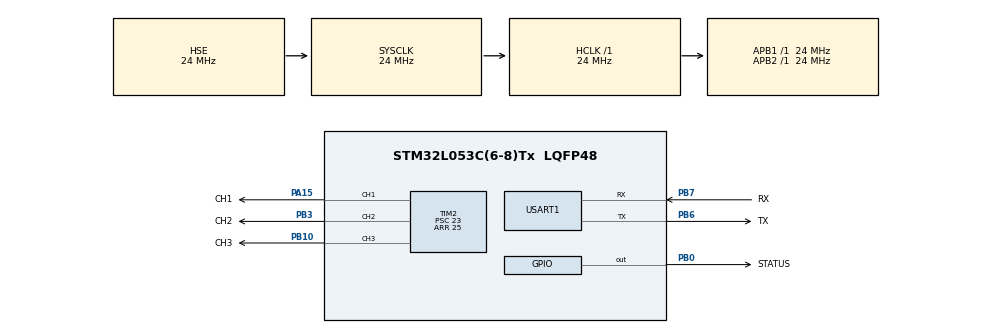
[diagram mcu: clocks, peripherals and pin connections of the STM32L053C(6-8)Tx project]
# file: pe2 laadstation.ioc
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Mcu.Family=STM32L0
Mcu.Name=STM32L053C(6-8)Tx
Mcu.Package=LQFP48
PA13.Mode=Serial_Wire
PA13.Signal=SYS_SWDIO
PA14.Mode=Serial_Wire
PA14.Signal=SYS_SWCLK
PA15.GPIO_Label=CH1
PA15.Signal=S_TIM2_CH1
PB0.GPIO_Label=STATUS
PB0.Signal=GPIO_Output
PB10.GPIO_Label=CH3
PB10.Signal=S_TIM2_CH3
PB3.GPIO_Label=CH2
PB3.Signal=S_TIM2_CH2
PB6.GPIO_Label=TX
PB6.Mode=Asynchronous
PB6.Signal=USART1_TX
PB7.GPIO_Label=RX
PB7.Mode=Asynchronous
PB7.Signal=USART1_RX
PH0-OSC_IN.GPIO_Label=OSC
PH0-OSC_IN.Mode=HSE-External-Clock-Source
PH0-OSC_IN.Signal=RCC_OSC_IN
ProjectManager.HeapSize=0x200
ProjectManager.StackSize=0x400
ProjectManager.TargetToolchain=STM32CubeIDE
RCC.AHBFreq_Value=24000000
RCC.APB1Freq_Value=24000000
RCC.APB1TimFreq_Value=24000000
RCC.APB2Freq_Value=24000000
RCC.APB2TimFreq_Value=24000000
RCC.HCLKFreq_Value=24000000
RCC.HSE_VALUE=24000000
RCC.HSI16_VALUE=16000000
RCC.HSI48_VALUE=48000000
RCC.HSI_VALUE=16000000
RCC.LSE_VALUE=32768
RCC.MSI_VALUE=2097000
RCC.SYSCLKFreq_VALUE=24000000
RCC.SYSCLKSource=RCC_SYSCLKSOURCE_HSE
RCC.VCOOutputFreq_Value=48000000
SH.S_TIM2_CH1.0=TIM2_CH1,PWM Generation1 CH1
SH.S_TIM2_CH2.0=TIM2_CH2,PWM Generation2 CH2
SH.S_TIM2_CH3.0=TIM2_CH3,PWM Generation3 CH3
TIM2.AutoReloadPreload=TIM_AUTORELOAD_PRELOAD_ENABLE
TIM2.Channel-PWM\ Generation1\ CH1=TIM_CHANNEL_1
TIM2.Channel-PWM\ Generation2\ CH2=TIM_CHANNEL_2
TIM2.Channel-PWM\ Generation3\ CH3=TIM_CHANNEL_3
TIM2.OCPolarity_1=TIM_OCPOLARITY_LOW
TIM2.OCPolarity_2=TIM_OCPOLARITY_LOW
TIM2.OCPolarity_3=TIM_OCPOLARITY_LOW
TIM2.Period=25
TIM2.Prescaler=23
USART1.VirtualMode-Asynchronous=VM_ASYNC
VP_TIM2_VS_ClockSourceINT.Mode=Internal
board=custom

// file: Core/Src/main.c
/* USER CODE BEGIN Header */
/**
  ******************************************************************************
  * @file           : main.c
  * @brief          : Main program body
  ******************************************************************************
  * @attention
  *
  * Copyright (c) 2025 STMicroelectronics.
  * All rights reserved.
  *
  * This software is licensed under terms that can be found in the LICENSE file
  * in the root directory of this software component.
  * If no LICENSE file comes with this software, it is provided AS-IS.
  *
  ******************************************************************************
  */
/* USER CODE END Header */
#include "main.h"

/* USER CODE BEGIN Includes */
#include <stdio.h>
/* USER CODE END Includes */

/* USER CODE BEGIN PM */
#define DUTY_VAL 14
/* USER CODE END PM */

TIM_HandleTypeDef htim2;

UART_HandleTypeDef huart1;

void SystemClock_Config(void);
static void MX_GPIO_Init(void);
static void MX_USART1_UART_Init(void);
static void MX_TIM2_Init(void);
/* USER CODE BEGIN PFP */
int _write(int, char *, int);
void stuurDataIrSolo (uint8_t);
void stuurDataIrDuo (uint8_t, uint8_t);
void stuurDataIrAll (uint8_t, uint8_t, uint8_t);
/* USER CODE END PFP */

/* USER CODE BEGIN 0 */
int _write(int file, char *ptr, int len) {
	for(int i = 0; i < len; i++){
		if(ptr[i]=='\n'){
			HAL_UART_Transmit(&huart1, (uint8_t*)"\r", 1, HAL_MAX_DELAY);
		}
		HAL_UART_Transmit(&huart1, (uint8_t*)&ptr[i], 1, HAL_MAX_DELAY);
	}
    return len;
}
void stuurDataIrSolo (uint8_t data) //MSB eerst
{
	uint8_t bit;
	for (uint8_t i = 0; i < 8; i++)
	{
		bit = data & 128;
		data = data <<  1;
		if (bit == 128)
		{
			htim2.Instance->CCR2 = DUTY_VAL; //Duty Cycle op 50% => led 38kHz
			HAL_Delay(2); //3ms wachten
			htim2.Instance->CCR2 = 0; //Duty Cycle op 0% => led uit
			HAL_Delay(0); //1ms wachten
		}
		else
		{
			htim2.Instance->CCR2 = DUTY_VAL; //Duty Cycle op 50% => led 38kHz
			HAL_Delay(0); //3ms wachten
			htim2.Instance->CCR2 = 0; //Duty Cycle op 0% => led uit
			HAL_Delay(2); //1ms wachten
		}
	}
}
void stuurDataIrDuo (uint8_t data_ch1, uint8_t data_ch2) //MSB eerst
{
	uint8_t bit_ch1, bit_ch2;
	for (uint8_t i = 0; i < 8; i++)
	{
		bit_ch1 = data_ch1 & 128;
		bit_ch2 = data_ch2 & 128;
		data_ch1 = data_ch1 <<  1;
		data_ch2 = data_ch2 <<  1;
		if (bit_ch1 == 128 && bit_ch2 == 128)
		{
			htim2.Instance->CCR1 = DUTY_VAL; //Duty Cycle op 50% => led 38kHz
			htim2.Instance->CCR3 = DUTY_VAL; //Duty Cycle op 50% => led 38kHz
			HAL_Delay(2); //3ms wachten
			htim2.Instance->CCR1 = 0; //Duty Cycle op 50% => led 38kHz
			htim2.Instance->CCR3 = 0; //Duty Cycle op 50% => led 38kHz
			HAL_Delay(0); //1ms wachten
		}
		else if (bit_ch1 == 128 && bit_ch2 == 0)
		{
			htim2.Instance->CCR1 = DUTY_VAL; //Duty Cycle op 50% => led 38kHz
			htim2.Instance->CCR3 = DUTY_VAL; //Duty Cycle op 50% => led 38kHz
			HAL_Delay(0); //1ms wachten
			htim2.Instance->CCR3 = 0; //Duty Cycle op 50% => led 38kHz
			HAL_Delay(1); //2ms wachten
			htim2.Instance->CCR1 = 0; //Duty Cycle op 50% => led 38kHz
			HAL_Delay(0); //1ms wachten
		}
		else if (bit_ch1 == 0 && bit_ch2 == 128)
		{
			htim2.Instance->CCR1 = DUTY_VAL; //Duty Cycle op 50% => led 38kHz
			htim2.Instance->CCR3 = DUTY_VAL; //Duty Cycle op 50% => led 38kHz
			HAL_Delay(0); //1ms wachten
			htim2.Instance->CCR1 = 0; //Duty Cycle op 50% => led 38kHz
			HAL_Delay(1); //2ms wachten
			htim2.Instance->CCR3 = 0; //Duty Cycle op 50% => led 38kHz
			HAL_Delay(0); //1ms wachten
		}
		else
		{
			htim2.Instance->CCR1 = DUTY_VAL; //Duty Cycle op 50% => led 38kHz
			htim2.Instance->CCR3 = DUTY_VAL; //Duty Cycle op 50% => led 38kHz
			HAL_Delay(0); //3ms wachten
			htim2.Instance->CCR1 = 0; //Duty Cycle op 50% => led 38kHz
			htim2.Instance->CCR3 = 0; //Duty Cycle op 50% => led 38kHz
			HAL_Delay(2); //1ms wachten
		}
	}
}
void stuurDataIrAll (uint8_t data_ch1, uint8_t data_ch2, uint8_t data_ch3)
{
	uint8_t bit_ch1, bit_ch2, bit_ch3;
	for (uint8_t i = 0; i < 8; i++)
	{
		bit_ch1 = data_ch1 & 128;
		bit_ch2 = data_ch2 & 128;
		bit_ch3 = data_ch3 & 128;
		data_ch1 = data_ch1 <<  1;
		data_ch2 = data_ch2 <<  1;
		data_ch3 = data_ch3 <<  1;
		if (bit_ch1 == 128 && bit_ch2 == 128 && bit_ch3 == 128)
		{
			htim2.Instance->CCR3 = DUTY_VAL; //Duty Cycle op 50% => led 38kHz
			htim2.Instance->CCR4 = DUTY_VAL; //Duty Cycle op 50% => led 38kHz
			htim2.Instance->CCR1 = DUTY_VAL; //Duty Cycle op 50% => led 38kHz
			HAL_Delay(2); //3ms wachten
			htim2.Instance->CCR3 = 0; //Duty Cycle op 0% => led uit
			htim2.Instance->CCR4 = 0; //Duty Cycle op 50% => led 38kHz
			htim2.Instance->CCR1 = 0; //Duty Cycle op 50% => led 38kHz
			HAL_Delay(0); //1ms wachten
		}
		else if (bit_ch1 == 0 && bit_ch2 == 128 && bit_ch3 == 128)
		{
			htim2.Instance->CCR3 = DUTY_VAL; //Duty Cycle op 50% => led 38kHz
			htim2.Instance->CCR4 = DUTY_VAL; //Duty Cycle op 50% => led 38kHz
			htim2.Instance->CCR1 = DUTY_VAL; //Duty Cycle op 50% => led 38kHz
			HAL_Delay(0); //3ms wachten
			htim2.Instance->CCR3 = 0; //Duty Cycle op 50% => led 38kHz
			HAL_Delay(1); //1ms wachten
			htim2.Instance->CCR3 = 0; //Duty Cycle op 0% => led uit
			htim2.Instance->CCR1 = 0; //Duty Cycle op 50% => led 38kHz
			HAL_Delay(0); //1ms wachten
		}
		else if (bit_ch1 == 128 && bit_ch2 == 0 && bit_ch3 == 128)
		{
			htim2.Instance->CCR3 = DUTY_VAL; //Duty Cycle op 50% => led 38kHz
			htim2.Instance->CCR4 = DUTY_VAL; //Duty Cycle op 50% => led 38kHz
			htim2.Instance->CCR1 = DUTY_VAL; //Duty Cycle op 50% => led 38kHz
			HAL_Delay(0); //3ms wachten
			htim2.Instance->CCR4 = 0; //Duty Cycle op 50% => led 38kHz
			HAL_Delay(1); //1ms wachten
			htim2.Instance->CCR3 = 0; //Duty Cycle op 0% => led uit
			htim2.Instance->CCR1 = 0; //Duty Cycle op 50% => led 38kHz
			HAL_Delay(0); //1ms wachten
		}
		else if (bit_ch1 == 128 && bit_ch2 == 128 && bit_ch3 == 0)
		{
			htim2.Instance->CCR3 = DUTY_VAL; //Duty Cycle op 50% => led 38kHz
			htim2.Instance->CCR4 = DUTY_VAL; //Duty Cycle op 50% => led 38kHz
			htim2.Instance->CCR1 = DUTY_VAL; //Duty Cycle op 50% => led 38kHz
			HAL_Delay(0); //3ms wachten
			htim2.Instance->CCR1 = 0; //Duty Cycle op 50% => led 38kHz
			HAL_Delay(1); //1ms wachten
			htim2.Instance->CCR3 = 0; //Duty Cycle op 0% => led uit
			htim2.Instance->CCR4 = 0; //Duty Cycle op 50% => led 38kHz
			HAL_Delay(0); //1ms wachten
		}
		else if (bit_ch1 == 0 && bit_ch2 == 0 && bit_ch3 == 128)
		{
			htim2.Instance->CCR3 = DUTY_VAL; //Duty Cycle op 50% => led 38kHz
			htim2.Instance->CCR4 = DUTY_VAL; //Duty Cycle op 50% => led 38kHz
			htim2.Instance->CCR1 = DUTY_VAL; //Duty Cycle op 50% => led 38kHz
			HAL_Delay(0); //3ms wachten
			htim2.Instance->CCR3 = 0; //Duty Cycle op 50% => led 38kHz
			htim2.Instance->CCR4 = 0; //Duty Cycle op 50% => led 38kHz
			HAL_Delay(1); //1ms wachten
			htim2.Instance->CCR1 = 0; //Duty Cycle op 0% => led uit
			HAL_Delay(0); //1ms wachten
		}
		else if (bit_ch1 == 128 && bit_ch2 == 0 && bit_ch3 == 0)
		{
			htim2.Instance->CCR3 = DUTY_VAL; //Duty Cycle op 50% => led 38kHz
			htim2.Instance->CCR4 = DUTY_VAL; //Duty Cycle op 50% => led 38kHz
			htim2.Instance->CCR1 = DUTY_VAL; //Duty Cycle op 50% => led 38kHz
			HAL_Delay(0); //3ms wachten
			htim2.Instance->CCR4 = 0; //Duty Cycle op 50% => led 38kHz
			htim2.Instance->CCR1 = 0; //Duty Cycle op 50% => led 38kHz
			HAL_Delay(1); //1ms wachten
			htim2.Instance->CCR3 = 0; //Duty Cycle op 0% => led uit
			HAL_Delay(0); //1ms wachten
		}

		else if (bit_ch1 == 0 && bit_ch2 == 128 && bit_ch3 == 0)
		{
			htim2.Instance->CCR3 = DUTY_VAL; //Duty Cycle op 50% => led 38kHz
			htim2.Instance->CCR4 = DUTY_VAL; //Duty Cycle op 50% => led 38kHz
			htim2.Instance->CCR1 = DUTY_VAL; //Duty Cycle op 50% => led 38kHz
			HAL_Delay(0); //3ms wachten
			htim2.Instance->CCR3 = 0; //Duty Cycle op 50% => led 38kHz
			htim2.Instance->CCR1 = 0; //Duty Cycle op 50% => led 38kHz
			HAL_Delay(1); //1ms wachten
			htim2.Instance->CCR4 = 0; //Duty Cycle op 0% => led uit
			HAL_Delay(0); //1ms wachten
		}
		else
		{
			htim2.Instance->CCR3 = DUTY_VAL; //Duty Cycle op 50% => led 38kHz
			htim2.Instance->CCR4 = DUTY_VAL; //Duty Cycle op 50% => led 38kHz
			htim2.Instance->CCR1 = DUTY_VAL; //Duty Cycle op 50% => led 38kHz
			HAL_Delay(0); //3ms wachten
			htim2.Instance->CCR3 = 0; //Duty Cycle op 0% => led uit
			htim2.Instance->CCR4 = 0; //Duty Cycle op 50% => led 38kHz
			htim2.Instance->CCR1 = 0; //Duty Cycle op 50% => led 38kHz
			HAL_Delay(2); //1ms wachten
		}
	}
}
/* USER CODE END 0 */

int main(void)
{

  /* MCU Configuration--------------------------------------------------------*/

  /* Reset of all peripherals, Initializes the Flash interface and the Systick. */
  HAL_Init();

  /* Configure the system clock */
  SystemClock_Config();

  /* Initialize all configured peripherals */
  MX_GPIO_Init();
  MX_USART1_UART_Init();
  MX_TIM2_Init();
  /* USER CODE BEGIN 2 */
  HAL_GPIO_WritePin(STATUS_GPIO_Port, STATUS_Pin, 1);
  HAL_TIM_PWM_Start(&htim2, TIM_CHANNEL_1);
  HAL_TIM_PWM_Start(&htim2, TIM_CHANNEL_2);
  HAL_TIM_PWM_Start(&htim2, TIM_CHANNEL_3);
  /* USER CODE END 2 */

  /* Infinite loop */
  while (1)
  {

    /* USER CODE BEGIN 3 */
	  stuurDataIrSolo(0xa1);
	  stuurDataIrDuo(0xa4, 0xa8);
	  //stuurDataIrAll(0x0, 0x0, 0x0);
  }
  /* USER CODE END 3 */
}

void SystemClock_Config(void)
{
  RCC_OscInitTypeDef RCC_OscInitStruct = {0};
  RCC_ClkInitTypeDef RCC_ClkInitStruct = {0};
  RCC_PeriphCLKInitTypeDef PeriphClkInit = {0};

  /** Configure the main internal regulator output voltage
  */
  __HAL_PWR_VOLTAGESCALING_CONFIG(PWR_REGULATOR_VOLTAGE_SCALE1);

  /** Initializes the RCC Oscillators according to the specified parameters
  * in the RCC_OscInitTypeDef structure.
  */
  RCC_OscInitStruct.OscillatorType = RCC_OSCILLATORTYPE_HSE;
  RCC_OscInitStruct.HSEState = RCC_HSE_BYPASS;
  RCC_OscInitStruct.PLL.PLLState = RCC_PLL_NONE;
  if (HAL_RCC_OscConfig(&RCC_OscInitStruct) != HAL_OK)
  {
    Error_Handler();
  }

  /** Initializes the CPU, AHB and APB buses clocks
  */
  RCC_ClkInitStruct.ClockType = RCC_CLOCKTYPE_HCLK|RCC_CLOCKTYPE_SYSCLK
                              |RCC_CLOCKTYPE_PCLK1|RCC_CLOCKTYPE_PCLK2;
  RCC_ClkInitStruct.SYSCLKSource = RCC_SYSCLKSOURCE_HSE;
  RCC_ClkInitStruct.AHBCLKDivider = RCC_SYSCLK_DIV1;
  RCC_ClkInitStruct.APB1CLKDivider = RCC_HCLK_DIV1;
  RCC_ClkInitStruct.APB2CLKDivider = RCC_HCLK_DIV1;

  if (HAL_RCC_ClockConfig(&RCC_ClkInitStruct, FLASH_LATENCY_1) != HAL_OK)
  {
    Error_Handler();
  }
  PeriphClkInit.PeriphClockSelection = RCC_PERIPHCLK_USART1;
  PeriphClkInit.Usart1ClockSelection = RCC_USART1CLKSOURCE_PCLK2;
  if (HAL_RCCEx_PeriphCLKConfig(&PeriphClkInit) != HAL_OK)
  {
    Error_Handler();
  }
}

static void MX_TIM2_Init(void)
{

  TIM_ClockConfigTypeDef sClockSourceConfig = {0};
  TIM_MasterConfigTypeDef sMasterConfig = {0};
  TIM_OC_InitTypeDef sConfigOC = {0};

  htim2.Instance = TIM2;
  htim2.Init.Prescaler = 23;
  htim2.Init.CounterMode = TIM_COUNTERMODE_UP;
  htim2.Init.Period = 25;
  htim2.Init.ClockDivision = TIM_CLOCKDIVISION_DIV1;
  htim2.Init.AutoReloadPreload = TIM_AUTORELOAD_PRELOAD_ENABLE;
  if (HAL_TIM_Base_Init(&htim2) != HAL_OK)
  {
    Error_Handler();
  }
  sClockSourceConfig.ClockSource = TIM_CLOCKSOURCE_INTERNAL;
  if (HAL_TIM_ConfigClockSource(&htim2, &sClockSourceConfig) != HAL_OK)
  {
    Error_Handler();
  }
  if (HAL_TIM_PWM_Init(&htim2) != HAL_OK)
  {
    Error_Handler();
  }
  sMasterConfig.MasterOutputTrigger = TIM_TRGO_RESET;
  sMasterConfig.MasterSlaveMode = TIM_MASTERSLAVEMODE_DISABLE;
  if (HAL_TIMEx_MasterConfigSynchronization(&htim2, &sMasterConfig) != HAL_OK)
  {
    Error_Handler();
  }
  sConfigOC.OCMode = TIM_OCMODE_PWM1;
  sConfigOC.Pulse = 0;
  sConfigOC.OCPolarity = TIM_OCPOLARITY_LOW;
  sConfigOC.OCFastMode = TIM_OCFAST_DISABLE;
  if (HAL_TIM_PWM_ConfigChannel(&htim2, &sConfigOC, TIM_CHANNEL_1) != HAL_OK)
  {
    Error_Handler();
  }
  if (HAL_TIM_PWM_ConfigChannel(&htim2, &sConfigOC, TIM_CHANNEL_2) != HAL_OK)
  {
    Error_Handler();
  }
  if (HAL_TIM_PWM_ConfigChannel(&htim2, &sConfigOC, TIM_CHANNEL_3) != HAL_OK)
  {
    Error_Handler();
  }
  HAL_TIM_MspPostInit(&htim2);

}

static void MX_USART1_UART_Init(void)
{

  huart1.Instance = USART1;
  huart1.Init.BaudRate = 115200;
  huart1.Init.WordLength = UART_WORDLENGTH_8B;
  huart1.Init.StopBits = UART_STOPBITS_1;
  huart1.Init.Parity = UART_PARITY_NONE;
  huart1.Init.Mode = UART_MODE_TX_RX;
  huart1.Init.HwFlowCtl = UART_HWCONTROL_NONE;
  huart1.Init.OverSampling = UART_OVERSAMPLING_16;
  huart1.Init.OneBitSampling = UART_ONE_BIT_SAMPLE_DISABLE;
  huart1.AdvancedInit.AdvFeatureInit = UART_ADVFEATURE_NO_INIT;
  if (HAL_UART_Init(&huart1) != HAL_OK)
  {
    Error_Handler();
  }

}

static void MX_GPIO_Init(void)
{
  GPIO_InitTypeDef GPIO_InitStruct = {0};

  /* GPIO Ports Clock Enable */
  __HAL_RCC_GPIOH_CLK_ENABLE();
  __HAL_RCC_GPIOB_CLK_ENABLE();
  __HAL_RCC_GPIOA_CLK_ENABLE();

  /*Configure GPIO pin Output Level */
  HAL_GPIO_WritePin(STATUS_GPIO_Port, STATUS_Pin, GPIO_PIN_RESET);

  /*Configure GPIO pin : STATUS_Pin */
  GPIO_InitStruct.Pin = STATUS_Pin;
  GPIO_InitStruct.Mode = GPIO_MODE_OUTPUT_PP;
  GPIO_InitStruct.Pull = GPIO_NOPULL;
  GPIO_InitStruct.Speed = GPIO_SPEED_FREQ_LOW;
  HAL_GPIO_Init(STATUS_GPIO_Port, &GPIO_InitStruct);

}

void Error_Handler(void)
{
  __disable_irq();
  while (1)
  {
  }
}
